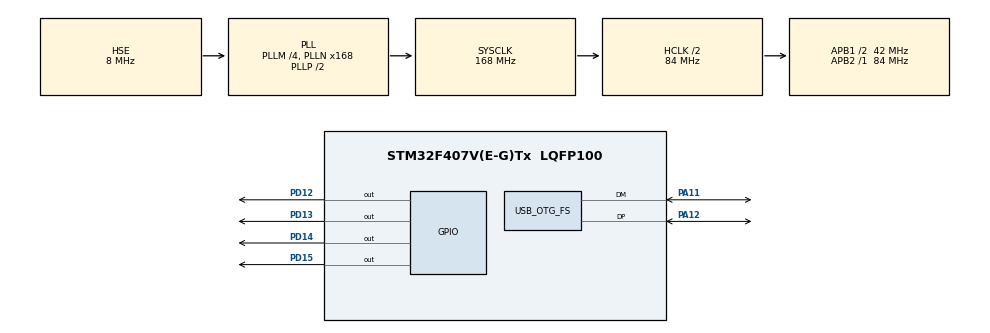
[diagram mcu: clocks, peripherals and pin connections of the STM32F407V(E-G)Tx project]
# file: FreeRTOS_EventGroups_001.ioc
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FREERTOS.Tasks01=defaultTask,0,128,StartDefaultTask,Default,NULL,Dynamic,NULL,NULL
FREERTOS.configUSE_NEWLIB_REENTRANT=1
Mcu.Family=STM32F4
Mcu.Name=STM32F407V(E-G)Tx
Mcu.Package=LQFP100
NVIC.OTG_FS_IRQn=true\:5\:0\:false\:false\:true\:true\:false\:true\:true
NVIC.PriorityGroup=NVIC_PRIORITYGROUP_4
NVIC.TIM4_IRQn=true\:15\:0\:false\:false\:true\:false\:false\:true\:true
NVIC.TimeBase=TIM4_IRQn
NVIC.TimeBaseIP=TIM4
PA11.Mode=Device_Only
PA11.Signal=USB_OTG_FS_DM
PA12.Mode=Device_Only
PA12.Signal=USB_OTG_FS_DP
PA13.Mode=Serial_Wire
PA13.Signal=SYS_JTMS-SWDIO
PA14.Mode=Serial_Wire
PA14.Signal=SYS_JTCK-SWCLK
PD12.Signal=GPIO_Output
PD13.Signal=GPIO_Output
PD14.Signal=GPIO_Output
PD15.Signal=GPIO_Output
PH0-OSC_IN.Mode=HSE-External-Oscillator
PH0-OSC_IN.Signal=RCC_OSC_IN
PH1-OSC_OUT.Mode=HSE-External-Oscillator
PH1-OSC_OUT.Signal=RCC_OSC_OUT
ProjectManager.HeapSize=0x200
ProjectManager.StackSize=0x400
ProjectManager.TargetToolchain=STM32CubeIDE
RCC.48MHZClocksFreq_Value=48000000
RCC.AHBCLKDivider=RCC_SYSCLK_DIV2
RCC.AHBFreq_Value=84000000
RCC.APB1CLKDivider=RCC_HCLK_DIV2
RCC.APB1Freq_Value=42000000
RCC.APB1TimFreq_Value=84000000
RCC.APB2Freq_Value=84000000
RCC.APB2TimFreq_Value=84000000
RCC.CortexFreq_Value=84000000
RCC.HCLKFreq_Value=84000000
RCC.HSE_VALUE=8000000
RCC.HSI_VALUE=16000000
RCC.LSE_VALUE=32768
RCC.PLLM=4
RCC.PLLN=168
RCC.PLLQ=7
RCC.SYSCLKFreq_VALUE=168000000
RCC.SYSCLKSource=RCC_SYSCLKSOURCE_PLLCLK
RCC.VCOOutputFreq_Value=336000000
USB_DEVICE.CLASS_NAME_FS=CDC
USB_DEVICE.PRODUCT_STRING_CDC_FS=STM32 VirtualCom
USB_DEVICE.VirtualMode-CDC_FS=Cdc
USB_DEVICE.VirtualModeFS=Cdc_FS
USB_OTG_FS.VirtualMode=Device_Only
VP_FREERTOS_VS_CMSIS_V1.Mode=CMSIS_V1
VP_SYS_VS_tim4.Mode=TIM4
VP_USB_DEVICE_VS_USB_DEVICE_CDC_FS.Mode=CDC_FS
board=custom

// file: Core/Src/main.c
/* USER CODE BEGIN Header */
/**
  ******************************************************************************
  * @file           : main.c
  * @brief          : Main program body
  ******************************************************************************
  * @attention
  *
  * Copyright (c) 2024 STMicroelectronics.
  * All rights reserved.
  *
  * This software is licensed under terms that can be found in the LICENSE file
  * in the root directory of this software component.
  * If no LICENSE file comes with this software, it is provided AS-IS.
  *
  ******************************************************************************
  */
/* USER CODE END Header */
#include "main.h"
#include "cmsis_os.h"
#include "usb_device.h"

/* USER CODE BEGIN Includes */

#include "usb_device.h"
#include "usbd_cdc_if.h"
#include "usbd_desc.h"
#include "usbd_conf.h"

#include "FreeRTOS.h"
#include "task.h"
#include "timers.h"
#include "queue.h"
#include "semphr.h"
#include "event_groups.h"

#include "string.h"
#include "stdint.h"

TaskHandle_t xTaskSensor1Handle;
TaskHandle_t xTaskSensor2Handle;
TaskHandle_t xTaskSensorsHandle;

volatile uint8_t control1 = 0;
volatile uint8_t control2 = 0;

void TaskSensor1(void *pvParameters);
void TaskSensor2(void *pvParameters);
void TaskSensors(void *pvParameters);

EventGroupHandle_t sensor_control;

const uint32_t sensor_bit_0 = 1 << 0;
const uint32_t sensor_bit_1 = 1 << 1;
const uint32_t sensor_all_bits = sensor_bit_1 | sensor_bit_0;

/* USER CODE END Includes */

osThreadId defaultTaskHandle;

void SystemClock_Config(void);
static void MX_GPIO_Init(void);
void StartDefaultTask(void const * argument);

int main(void)
{

  /* MCU Configuration--------------------------------------------------------*/

  /* Reset of all peripherals, Initializes the Flash interface and the Systick. */
  HAL_Init();

  /* Configure the system clock */
  SystemClock_Config();

  /* Initialize all configured peripherals */
  MX_GPIO_Init();
  /* USER CODE BEGIN 2 */

  MX_USB_DEVICE_Init();

  sensor_control = xEventGroupCreate();

  xTaskCreate(TaskSensor1, "Task 1", 1000, NULL, 1, &xTaskSensor1Handle);
  xTaskCreate(TaskSensor2, "Task 2", 1000, NULL, 1, &xTaskSensor2Handle);
  xTaskCreate(TaskSensors, "Task Sensors", 1000, NULL, 2, &xTaskSensorsHandle);

  vTaskStartScheduler();

  /* USER CODE END 2 */

  /* Create the thread(s) */
  /* definition and creation of defaultTask */
//  osThreadDef(defaultTask, StartDefaultTask, osPriorityNormal, 0, 128);
//  defaultTaskHandle = osThreadCreate(osThread(defaultTask), NULL);

  /* Start scheduler */
  // osKernelStart();

  /* We should never get here as control is now taken by the scheduler */

  /* Infinite loop */
  while (1)
  {

  }
}

void SystemClock_Config(void)
{
  RCC_OscInitTypeDef RCC_OscInitStruct = {0};
  RCC_ClkInitTypeDef RCC_ClkInitStruct = {0};

  /** Configure the main internal regulator output voltage
  */
  __HAL_RCC_PWR_CLK_ENABLE();
  __HAL_PWR_VOLTAGESCALING_CONFIG(PWR_REGULATOR_VOLTAGE_SCALE1);

  /** Initializes the RCC Oscillators according to the specified parameters
  * in the RCC_OscInitTypeDef structure.
  */
  RCC_OscInitStruct.OscillatorType = RCC_OSCILLATORTYPE_HSE;
  RCC_OscInitStruct.HSEState = RCC_HSE_ON;
  RCC_OscInitStruct.PLL.PLLState = RCC_PLL_ON;
  RCC_OscInitStruct.PLL.PLLSource = RCC_PLLSOURCE_HSE;
  RCC_OscInitStruct.PLL.PLLM = 4;
  RCC_OscInitStruct.PLL.PLLN = 168;
  RCC_OscInitStruct.PLL.PLLP = RCC_PLLP_DIV2;
  RCC_OscInitStruct.PLL.PLLQ = 7;
  if (HAL_RCC_OscConfig(&RCC_OscInitStruct) != HAL_OK)
  {
    Error_Handler();
  }

  /** Initializes the CPU, AHB and APB buses clocks
  */
  RCC_ClkInitStruct.ClockType = RCC_CLOCKTYPE_HCLK|RCC_CLOCKTYPE_SYSCLK
                              |RCC_CLOCKTYPE_PCLK1|RCC_CLOCKTYPE_PCLK2;
  RCC_ClkInitStruct.SYSCLKSource = RCC_SYSCLKSOURCE_PLLCLK;
  RCC_ClkInitStruct.AHBCLKDivider = RCC_SYSCLK_DIV2;
  RCC_ClkInitStruct.APB1CLKDivider = RCC_HCLK_DIV2;
  RCC_ClkInitStruct.APB2CLKDivider = RCC_HCLK_DIV1;

  if (HAL_RCC_ClockConfig(&RCC_ClkInitStruct, FLASH_LATENCY_2) != HAL_OK)
  {
    Error_Handler();
  }
}

static void MX_GPIO_Init(void)
{
  GPIO_InitTypeDef GPIO_InitStruct = {0};

  /* GPIO Ports Clock Enable */
  __HAL_RCC_GPIOH_CLK_ENABLE();
  __HAL_RCC_GPIOD_CLK_ENABLE();
  __HAL_RCC_GPIOA_CLK_ENABLE();

  /*Configure GPIO pin Output Level */
  HAL_GPIO_WritePin(GPIOD, GPIO_PIN_12|GPIO_PIN_13|GPIO_PIN_14|GPIO_PIN_15, GPIO_PIN_RESET);

  /*Configure GPIO pins : PD12 PD13 PD14 PD15 */
  GPIO_InitStruct.Pin = GPIO_PIN_12|GPIO_PIN_13|GPIO_PIN_14|GPIO_PIN_15;
  GPIO_InitStruct.Mode = GPIO_MODE_OUTPUT_PP;
  GPIO_InitStruct.Pull = GPIO_NOPULL;
  GPIO_InitStruct.Speed = GPIO_SPEED_FREQ_LOW;
  HAL_GPIO_Init(GPIOD, &GPIO_InitStruct);

}

/* USER CODE BEGIN 4 */

//void HAL_GPIO_EXTI_Callback(uint16_t GPIO_Pin)
//{
//	if(GPIO_Pin == GPIO_PIN_0)
//	{
//		HAL_TIM_Base_Start_IT(&htim2);
//		HAL_TIM_Base_Start_IT(&htim3);
//	}
//
//}
//
//
//void HAL_TIM_PeriodElapsedCallback(TIM_HandleTypeDef *htim)
//{
//
//	if(htim->Instance == TIM2)
//	{
//		control1++;
//	}
//	if(htim->Instance == TIM3)
//	{
//		control2++;
//	}
//
//}

void TaskSensor1(void *pvParameters)
{
	TickType_t delay;
	delay = pdMS_TO_TICKS(1000);

	for(;;)
	{
		xEventGroupSetBits(sensor_control, sensor_bit_0);
		vTaskDelay(delay);
	}

}

void TaskSensor2(void *pvParameters)
{
	int x = 0;
	TickType_t delay;
	delay = pdMS_TO_TICKS(1000);

	for(;;)
	{
		++x;

		if((x >= 3) && (x < 6))
		{

		}
		else
		{
			xEventGroupSetBits(sensor_control, sensor_bit_1);
		}

		vTaskDelay(delay);
	}

}

void TaskSensors(void *pvParameters)
{
	uint32_t result;
	// TickType_t delay;
	// delay = pdMS_TO_TICKS(1);

	for(;;)
	{
		result = xEventGroupWaitBits(sensor_control, sensor_all_bits, pdTRUE, pdTRUE, portMAX_DELAY);

		if((result & sensor_all_bits) == sensor_all_bits)
		{
			HAL_Delay(1);
			char *str1 = "System is healthy...\n";
			CDC_Transmit_FS((uint8_t *)str1, strlen(str1));
			HAL_Delay(1);
		}
		else
		{
			if(!(result & sensor_bit_0))
			{
				HAL_Delay(1);
				char *str2 = "Sensor1 stopped\n";
				CDC_Transmit_FS((uint8_t *)str2, strlen(str2));
				HAL_Delay(1);
			}
			else if(!(result & sensor_bit_1))
			{
				HAL_Delay(1);
				char *str3 = "Sensor2 stopped\n";
				CDC_Transmit_FS((uint8_t *)str3, strlen(str3));
				HAL_Delay(1);
			}

		}

	}

}

/* USER CODE END 4 */

void StartDefaultTask(void const * argument)
{
  /* init code for USB_DEVICE */
  MX_USB_DEVICE_Init();
  /* USER CODE BEGIN 5 */
//  /* Infinite loop */
//  for(;;)
//  {
//    osDelay(1);
//  }
  /* USER CODE END 5 */
}

void HAL_TIM_PeriodElapsedCallback(TIM_HandleTypeDef *htim)
{
  /* USER CODE BEGIN Callback 0 */
//
  /* USER CODE END Callback 0 */
  if (htim->Instance == TIM4) {
    HAL_IncTick();
  }
  /* USER CODE BEGIN Callback 1 */
//
  /* USER CODE END Callback 1 */
}

void Error_Handler(void)
{
  __disable_irq();
  while (1)
  {
  }
}
